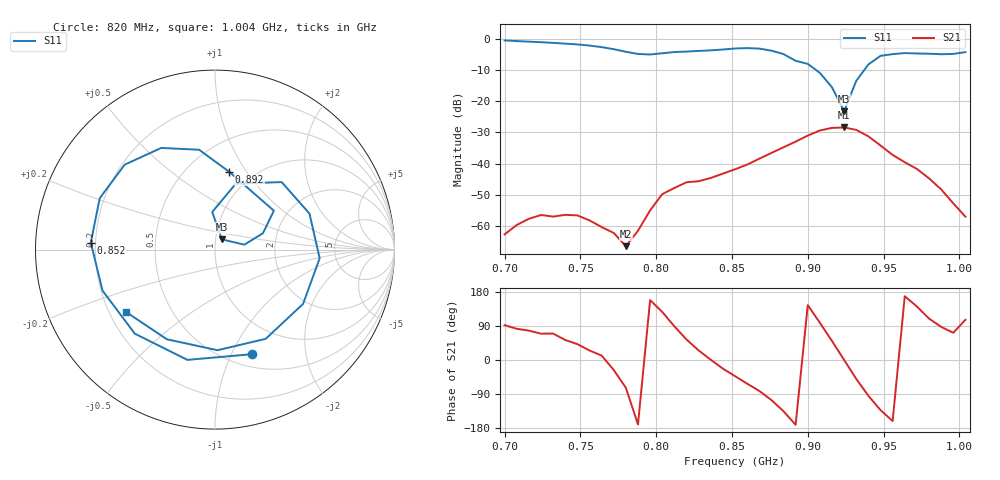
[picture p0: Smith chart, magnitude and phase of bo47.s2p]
# Hz S RI R 50
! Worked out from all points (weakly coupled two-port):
!   39 points, 700 MHz to 1.004 GHz, reference 50 ohm
!   highest |S21| = -28.45 dB at 924 MHz (marker M1); lowest = -66.4 dB at 780 MHz (marker M2)
!   lowest |S11| = -23.3 dB at 924 MHz (marker M3), VSWR 1.15, Z = 53.6 + j6.12 ohm
!   |S11| at or under -10 dB: 905.3 MHz to 937.4 MHz (32.13 MHz wide, 3.49 % of centre)
!   S12 and S22 are empty: the file has one direction only
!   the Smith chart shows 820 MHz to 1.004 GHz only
!   S11 on the Smith chart (normalised r, x): 820 MHz: 0.64, -1.21; 852 MHz: 0.18, +0.03; 892 MHz: 0.78, +0.84; 1.004 GHz: 0.27, -0.29
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7e8  0.7675 0.528  -2.37e-05 0.000736  0 0  0 0
7.24e8  0.833 -0.2636  0.000527 0.00141  0 0  0 0
7.4e8  0.4423 -0.7013  0.000915 0.00121  0 0  0 0
7.56e8  -0.2001 -0.7449  0.00112 0.000524  0 0  0 0
7.72e8  -0.6512 -0.1786  0.000696 -0.000344  0 0  0 0
7.8e8  -0.5639 0.2432  0.000137 -0.000457  0 0  0 0
7.88e8  -0.1983 0.5309  -0.00083 -0.000145  0 0  0 0
7.96e8  0.2841 0.4768  -0.00165 0.000663  0 0  0 0
8.04e8  0.5715 0.1059  -0.00194 0.0026  0 0  0 0
8.2e8  0.2088 -0.5825  0.00294 0.00406  0 0  0 0
8.36e8  -0.4468 -0.4683  0.00587 6.59e-05  0 0  0 0
8.52e8  -0.692 0.0391  0.00596 -0.00548  0 0  0 0
8.76e8  -0.2996 0.5664  -0.00399 -0.0142  0 0  0 0
8.92e8  0.0793 0.4334  -0.0221 -0.00347  0 0  0 0
9e8  0.328 0.2167  -0.0229 0.0161  0 0  0 0
9.08e8  0.2672 0.0914  -0.00484 0.0335  0 0  0 0
9.24e8  0.0385 0.0568  0.0378 8.92e-05  0 0  0 0
9.4e8  0.1162 0.3671  -0.00217 -0.0272  0 0  0 0
9.56e8  0.5264 0.2006  -0.013 -0.00446  0 0  0 0
9.64e8  0.5831 -0.0485  -0.0103 0.00211  0 0  0 0
9.8e8  0.2828 -0.497  -0.00192 0.00546  0 0  0 0
1.004e9  -0.4982 -0.3458  -0.000388 0.00136  0 0  0 0
